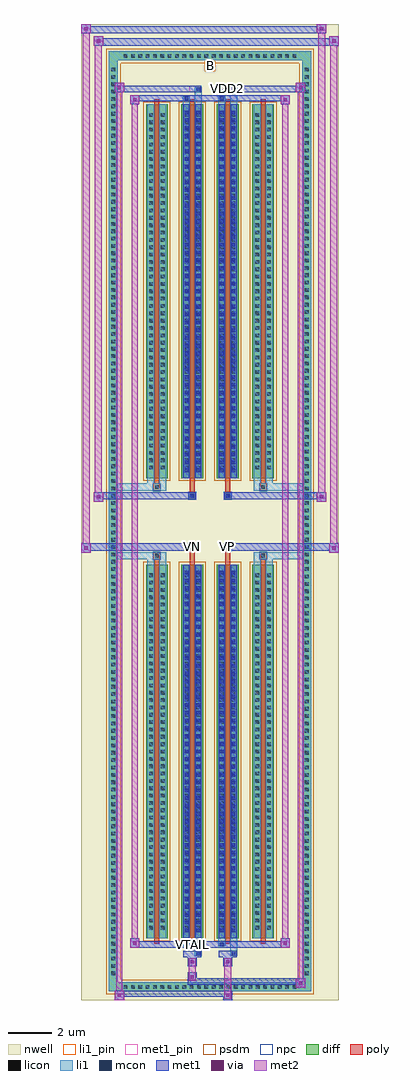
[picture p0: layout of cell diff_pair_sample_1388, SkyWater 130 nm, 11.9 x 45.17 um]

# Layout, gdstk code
import gdstk
lib = gdstk.Library(unit=1e-6, precision=5e-09)
def R(c, l, rs):  # rectangles x0, y0, x1, y1
    for r in rs: c.add(gdstk.rectangle(r[:2], r[2:], *l))
def A(c, l, x, y, w, h, nx, ny, dx, dy):  # array of equal rectangles
    R(c, l, [(x+i*dx, y+j*dy, x+i*dx+w, y+j*dy+h) for i in range(nx) for j in range(ny)])
def P(c, l, *ps):  # polygons
    for p in ps: c.add(gdstk.Polygon(p, *l))
nwell = (64, 20)
diff = (65, 20)
poly = (66, 20)
licon = (66, 44)
li1_pin = (67, 16)
li1 = (67, 20)
mcon = (67, 44)
met1_pin = (68, 16)
met1 = (68, 20)
via = (68, 44)
met2 = (69, 20)
psdm = (94, 20)
npc = (95, 20)

diff_pair_sample_1388 = lib.new_cell('diff_pair_sample_1388')
R(diff_pair_sample_1388, nwell, [(-5.95,-22.15,5.95,23.02), (-3.27,-20.34,-0.01,-0.82), (0.01,-20.34,3.27,-0.82), (-3.27,0.82,-0.01,20.34), (0.01,0.82,3.27,20.34)])
A(diff_pair_sample_1388, diff, -4.115, -21.75, 0.41, 0.41, 24, 2, 0.34, 43.09)
A(diff_pair_sample_1388, diff, -4.68, -21.115, 0.41, 0.41, 1, 124, 0, 0.34)
A(diff_pair_sample_1388, diff, 4.27, -21.115, 0.41, 0.41, 1, 124, 0, 0.34)
A(diff_pair_sample_1388, diff, -2.96, -19.295, 1, 17.29, 4, 2, 1.64, 21.3)
R(diff_pair_sample_1388, diff, [(-4.115,-21.75,4.115,-21.34), (-4.68,-21.115,-4.27,21.115), (4.27,-21.115,4.68,21.115), (-4.115,21.34,4.115,21.75)])
P(diff_pair_sample_1388, diff, [(4.68,21.75),(-4.68,21.75),(-4.68,-21.34),(-4.27,-21.34),(-4.27,21.34),(4.27,21.34),(4.27,-21.34),(-4.27,-21.34),(-4.68,-21.34),(-4.68,-21.75),(4.68,-21.75)])
A(diff_pair_sample_1388, poly, -2.57, -19.545, 0.22, 17.79, 4, 2, 1.64, 21.3)
R(diff_pair_sample_1388, poly, [(-2.625,-1.755,-2.295,-1.425), (-2.625,-1.755,-2.295,-1.425), (-0.93,-1.755,-0.71,-1.35), (0.71,-1.755,0.93,-1.35), (2.295,-1.755,2.625,-1.425), (2.295,-1.755,2.625,-1.425), (-0.985,-1.35,-0.655,-1.02), (-0.985,-1.35,-0.655,-1.02), (0.655,-1.35,0.985,-1.02), (0.655,-1.35,0.985,-1.02), (-0.985,1.02,-0.655,1.35), (-0.985,1.02,-0.655,1.35), (0.655,1.02,0.985,1.35), (0.655,1.02,0.985,1.35), (-0.93,1.35,-0.71,1.755), (0.71,1.35,0.93,1.755), (-2.625,1.425,-2.295,1.755), (-2.625,1.425,-2.295,1.755), (2.295,1.425,2.625,1.755), (2.295,1.425,2.625,1.755)])
A(diff_pair_sample_1388, licon, -3.995, -21.63, 0.17, 0.17, 24, 2, 0.34, 43.09)
A(diff_pair_sample_1388, licon, -4.56, -20.995, 0.17, 0.17, 1, 124, 0, 0.34)
A(diff_pair_sample_1388, licon, 4.39, -20.995, 0.17, 0.17, 1, 124, 0, 0.34)
A(diff_pair_sample_1388, licon, -2.82, -18.895, 0.17, 0.17, 1, 49, 0, 0.34)
A(diff_pair_sample_1388, licon, -2.27, -18.895, 0.17, 0.17, 1, 49, 0, 0.34)
A(diff_pair_sample_1388, licon, -1.18, -18.895, 0.17, 0.17, 1, 49, 0, 0.34)
A(diff_pair_sample_1388, licon, -0.63, -18.895, 0.17, 0.17, 1, 49, 0, 0.34)
A(diff_pair_sample_1388, licon, 0.46, -18.895, 0.17, 0.17, 1, 49, 0, 0.34)
A(diff_pair_sample_1388, licon, 1.01, -18.895, 0.17, 0.17, 1, 49, 0, 0.34)
A(diff_pair_sample_1388, licon, 2.1, -18.895, 0.17, 0.17, 1, 49, 0, 0.34)
A(diff_pair_sample_1388, licon, 2.65, -18.895, 0.17, 0.17, 1, 49, 0, 0.34)
A(diff_pair_sample_1388, licon, -2.82, 2.405, 0.17, 0.17, 1, 49, 0, 0.34)
A(diff_pair_sample_1388, licon, -2.27, 2.405, 0.17, 0.17, 1, 49, 0, 0.34)
A(diff_pair_sample_1388, licon, -1.18, 2.405, 0.17, 0.17, 1, 49, 0, 0.34)
A(diff_pair_sample_1388, licon, -0.63, 2.405, 0.17, 0.17, 1, 49, 0, 0.34)
A(diff_pair_sample_1388, licon, 0.46, 2.405, 0.17, 0.17, 1, 49, 0, 0.34)
A(diff_pair_sample_1388, licon, 1.01, 2.405, 0.17, 0.17, 1, 49, 0, 0.34)
A(diff_pair_sample_1388, licon, 2.1, 2.405, 0.17, 0.17, 1, 49, 0, 0.34)
A(diff_pair_sample_1388, licon, 2.65, 2.405, 0.17, 0.17, 1, 49, 0, 0.34)
R(diff_pair_sample_1388, licon, [(-2.545,-1.675,-2.375,-1.505), (2.375,-1.675,2.545,-1.505), (-0.905,-1.27,-0.735,-1.1), (0.735,-1.27,0.905,-1.1), (-0.905,1.1,-0.735,1.27), (0.735,1.1,0.905,1.27), (-2.545,1.505,-2.375,1.675), (2.375,1.505,2.545,1.675)])
R(diff_pair_sample_1388, li1_pin, [(-0.25,20.84,0.25,21.34)])
A(diff_pair_sample_1388, li1, -4.075, -21.71, 0.33, 0.33, 24, 2, 0.34, 43.09)
A(diff_pair_sample_1388, li1, -4.64, -21.075, 0.33, 0.33, 1, 124, 0, 0.34)
A(diff_pair_sample_1388, li1, 4.31, -21.075, 0.33, 0.33, 1, 124, 0, 0.34)
A(diff_pair_sample_1388, li1, -1.18, -19.015, 0.17, 0.17, 1, 47, 0, 0.36)
A(diff_pair_sample_1388, li1, -0.63, -19.015, 0.17, 0.17, 1, 47, 0, 0.36)
A(diff_pair_sample_1388, li1, 0.46, -19.015, 0.17, 0.17, 1, 47, 0, 0.36)
A(diff_pair_sample_1388, li1, 1.01, -19.015, 0.17, 0.17, 1, 47, 0, 0.36)
A(diff_pair_sample_1388, li1, -2.9, -18.975, 0.33, 0.33, 1, 49, 0, 0.34)
A(diff_pair_sample_1388, li1, -2.35, -18.975, 0.33, 0.33, 1, 49, 0, 0.34)
A(diff_pair_sample_1388, li1, -1.26, -18.975, 0.33, 0.33, 1, 49, 0, 0.34)
A(diff_pair_sample_1388, li1, -0.71, -18.975, 0.33, 0.33, 1, 49, 0, 0.34)
A(diff_pair_sample_1388, li1, 0.38, -18.975, 0.33, 0.33, 1, 49, 0, 0.34)
A(diff_pair_sample_1388, li1, 0.93, -18.975, 0.33, 0.33, 1, 49, 0, 0.34)
A(diff_pair_sample_1388, li1, 2.02, -18.975, 0.33, 0.33, 1, 49, 0, 0.34)
A(diff_pair_sample_1388, li1, 2.57, -18.975, 0.33, 0.33, 1, 49, 0, 0.34)
A(diff_pair_sample_1388, li1, -1.18, 2.285, 0.17, 0.17, 1, 47, 0, 0.36)
A(diff_pair_sample_1388, li1, -0.63, 2.285, 0.17, 0.17, 1, 47, 0, 0.36)
A(diff_pair_sample_1388, li1, 0.46, 2.285, 0.17, 0.17, 1, 47, 0, 0.36)
A(diff_pair_sample_1388, li1, 1.01, 2.285, 0.17, 0.17, 1, 47, 0, 0.36)
A(diff_pair_sample_1388, li1, -2.9, 2.325, 0.33, 0.33, 1, 49, 0, 0.34)
A(diff_pair_sample_1388, li1, -2.35, 2.325, 0.33, 0.33, 1, 49, 0, 0.34)
A(diff_pair_sample_1388, li1, -1.26, 2.325, 0.33, 0.33, 1, 49, 0, 0.34)
A(diff_pair_sample_1388, li1, -0.71, 2.325, 0.33, 0.33, 1, 49, 0, 0.34)
A(diff_pair_sample_1388, li1, 0.38, 2.325, 0.33, 0.33, 1, 49, 0, 0.34)
A(diff_pair_sample_1388, li1, 0.93, 2.325, 0.33, 0.33, 1, 49, 0, 0.34)
A(diff_pair_sample_1388, li1, 2.02, 2.325, 0.33, 0.33, 1, 49, 0, 0.34)
A(diff_pair_sample_1388, li1, 2.57, 2.325, 0.33, 0.33, 1, 49, 0, 0.34)
R(diff_pair_sample_1388, li1, [(-4.68,-21.75,-4.27,-21.34), (-4.68,-21.75,-4.27,-21.34), (-4.27,-21.75,4.27,-21.34), (4.27,-21.75,4.68,-21.34), (4.27,-21.75,4.68,-21.34), (-4.68,-21.34,-4.27,21.34), (4.27,-21.34,4.68,21.34), (-0.71,-20.1,-0.38,-19.295), (-0.63,-20.1,-0.46,-19.93), (0.93,-20.1,1.26,-19.295), (1.01,-20.1,1.18,-19.93), (-1.26,-19.67,-0.93,-19.295), (-1.18,-19.67,-1.01,-19.5), (0.38,-19.67,0.71,-19.295), (0.46,-19.67,0.63,-19.5), (-2.9,-19.295,-2.57,-2.005), (-2.35,-19.295,-2.02,-2.005), (-1.26,-19.295,-0.93,-2.005), (-0.71,-19.295,-0.38,-2.005), (0.38,-19.295,0.71,-2.005), (0.93,-19.295,1.26,-2.005), (2.02,-19.295,2.35,-2.005), (2.57,-19.295,2.9,-2.005), (-1.18,-19.015,-1.01,-2.285), (-0.63,-19.015,-0.46,-2.285), (0.46,-19.015,0.63,-2.285), (1.01,-19.015,1.18,-2.285), (-2.9,-2.005,-2.57,-1.425), (-2.35,-2.005,-2.02,-1.425), (2.02,-2.005,2.35,-1.425), (2.57,-2.005,2.9,-1.425), (-4.68,-1.755,-2.625,-1.425), (-2.9,-1.755,-2.625,-1.425), (-2.625,-1.755,-2.295,-1.425), (-2.295,-1.755,-2.02,-1.425), (2.02,-1.755,2.295,-1.425), (2.295,-1.755,2.625,-1.425), (2.295,-1.755,4.68,-1.425), (2.625,-1.755,2.9,-1.425), (-0.985,-1.35,-0.655,-1.02), (0.655,-1.35,0.985,-1.02), (-0.985,1.02,-0.655,1.35), (0.655,1.02,0.985,1.35), (-4.68,1.425,-2.625,1.755), (-2.9,1.425,-2.625,1.755), (-2.9,1.425,-2.57,2.005), (-2.625,1.425,-2.295,1.755), (-2.35,1.425,-2.02,2.005), (-2.295,1.425,-2.02,1.755), (2.02,1.425,2.295,1.755), (2.02,1.425,2.35,2.005), (2.295,1.425,2.625,1.755), (2.295,1.425,4.68,1.755), (2.57,1.425,2.9,2.005), (2.625,1.425,2.9,1.755), (-2.9,2.005,-2.57,19.295), (-2.35,2.005,-2.02,19.295), (-1.26,2.005,-0.93,19.295), (-0.71,2.005,-0.38,19.295), (0.38,2.005,0.71,19.295), (0.93,2.005,1.26,19.295), (2.02,2.005,2.35,19.295), (2.57,2.005,2.9,19.295), (-1.18,2.285,-1.01,19.015), (-0.63,2.285,-0.46,19.015), (0.46,2.285,0.63,19.015), (1.01,2.285,1.18,19.015), (-1.26,19.295,-0.93,19.67), (-0.71,19.295,-0.38,20.1), (0.38,19.295,0.71,19.67), (0.93,19.295,1.26,20.1), (-1.18,19.5,-1.01,19.67), (0.46,19.5,0.63,19.67), (-0.63,19.93,-0.46,20.1), (1.01,19.93,1.18,20.1), (-4.68,21.34,-4.27,21.75), (-4.68,21.34,-4.27,21.75), (-4.27,21.34,4.27,21.75), (4.27,21.34,4.68,21.75), (4.27,21.34,4.68,21.75)])
A(diff_pair_sample_1388, mcon, -1.18, -19.015, 0.17, 0.17, 1, 47, 0, 0.36)
A(diff_pair_sample_1388, mcon, -0.63, -19.015, 0.17, 0.17, 1, 47, 0, 0.36)
A(diff_pair_sample_1388, mcon, 0.46, -19.015, 0.17, 0.17, 1, 47, 0, 0.36)
A(diff_pair_sample_1388, mcon, 1.01, -19.015, 0.17, 0.17, 1, 47, 0, 0.36)
A(diff_pair_sample_1388, mcon, -1.18, 2.285, 0.17, 0.17, 1, 47, 0, 0.36)
A(diff_pair_sample_1388, mcon, -0.63, 2.285, 0.17, 0.17, 1, 47, 0, 0.36)
A(diff_pair_sample_1388, mcon, 0.46, 2.285, 0.17, 0.17, 1, 47, 0, 0.36)
A(diff_pair_sample_1388, mcon, 1.01, 2.285, 0.17, 0.17, 1, 47, 0, 0.36)
R(diff_pair_sample_1388, mcon, [(-0.63,-20.1,-0.46,-19.93), (1.01,-20.1,1.18,-19.93), (-1.18,-19.67,-1.01,-19.5), (0.46,-19.67,0.63,-19.5), (-0.905,-1.27,-0.735,-1.1), (0.735,-1.27,0.905,-1.1), (-0.905,1.1,-0.735,1.27), (0.735,1.1,0.905,1.27), (-1.18,19.5,-1.01,19.67), (0.46,19.5,0.63,19.67), (-0.63,19.93,-0.46,20.1), (1.01,19.93,1.18,20.1)])
R(diff_pair_sample_1388, met1_pin, [(-0.955,-19.71,-0.685,-19.44), (-0.955,-1.29,-0.685,-1.02), (0.685,-1.29,0.955,-1.02), (-0.955,19.89,-0.685,20.16), (0.685,19.89,0.955,20.16)])
A(diff_pair_sample_1388, met1, -1.24, -19.075, 0.29, 0.29, 1, 47, 0, 0.36)
A(diff_pair_sample_1388, met1, -0.69, -19.075, 0.29, 0.29, 1, 47, 0, 0.36)
A(diff_pair_sample_1388, met1, 0.4, -19.075, 0.29, 0.29, 1, 47, 0, 0.36)
A(diff_pair_sample_1388, met1, 0.95, -19.075, 0.29, 0.29, 1, 47, 0, 0.36)
A(diff_pair_sample_1388, met1, -1.24, 2.225, 0.29, 0.29, 1, 47, 0, 0.36)
A(diff_pair_sample_1388, met1, -0.69, 2.225, 0.29, 0.29, 1, 47, 0, 0.36)
A(diff_pair_sample_1388, met1, 0.4, 2.225, 0.29, 0.29, 1, 47, 0, 0.36)
A(diff_pair_sample_1388, met1, 0.95, 2.225, 0.29, 0.29, 1, 47, 0, 0.36)
R(diff_pair_sample_1388, met1, [(-4.41,-22.15,-3.98,-21.72), (0.605,-22.15,1.035,-21.72), (-4.41,-22.01,1.035,-21.72), (3.98,-21.58,4.41,-21.15), (-1.035,-21.44,4.41,-21.15), (-1.035,-21.3,-0.605,-20.87), (-1.035,-20.59,-0.605,-20.16), (0.605,-20.59,1.035,-20.16), (-1.24,-20.16,-0.4,-19.87), (-0.69,-20.16,-0.4,-19.87), (0.4,-20.16,1.24,-19.87), (0.95,-20.16,1.24,-19.87), (-3.7,-19.73,-3.27,-19.3), (-3.7,-19.73,-1.24,-19.44), (-1.24,-19.73,-0.95,-19.44), (-1.24,-19.73,-0.4,-19.44), (-0.4,-19.73,0.4,-19.44), (0.4,-19.73,0.69,-19.44), (0.4,-19.73,1.24,-19.44), (1.24,-19.73,3.7,-19.44), (3.27,-19.73,3.7,-19.3), (-1.24,-19.295,-0.95,-2.005), (-0.69,-19.295,-0.4,-2.005), (0.4,-19.295,0.69,-2.005), (0.95,-19.295,1.24,-2.005), (-5.95,-1.45,-5.52,-1.02), (5.52,-1.45,5.95,-1.02), (-5.95,-1.35,-0.655,-1.02), (-0.985,-1.35,-0.655,-1.02), (0.655,-1.35,0.985,-1.02), (0.655,-1.35,5.95,-1.02), (-0.965,-1.33,-0.675,-1.04), (0.675,-1.33,0.965,-1.04), (-5.38,0.92,-4.95,1.35), (4.95,0.92,5.38,1.35), (-5.38,1.02,-0.985,1.35), (-0.985,1.02,-0.655,1.35), (0.655,1.02,0.985,1.35), (0.985,1.02,5.38,1.35), (-0.965,1.04,-0.675,1.33), (0.675,1.04,0.965,1.33), (-1.24,2.005,-0.95,19.295), (-0.69,2.005,-0.4,19.295), (0.4,2.005,0.69,19.295), (0.95,2.005,1.24,19.295), (-3.7,19.3,-3.27,19.73), (3.27,19.3,3.7,19.73), (-3.7,19.44,-1.24,19.73), (-1.24,19.44,-0.95,19.73), (-1.24,19.44,-0.4,19.73), (-0.4,19.44,0.4,19.73), (0.4,19.44,0.69,19.73), (0.4,19.44,1.24,19.73), (1.24,19.44,3.7,19.73), (-4.41,19.87,-3.98,20.3), (-4.41,19.87,-1.24,20.16), (-1.24,19.87,-0.4,20.16), (-0.69,19.87,-0.4,20.16), (0.4,19.87,1.24,20.16), (0.95,19.87,1.24,20.16), (1.24,19.87,4.41,20.16), (3.98,19.87,4.41,20.3), (-5.38,22.02,-4.95,22.45), (-5.38,22.02,-3.27,22.35), (-3.27,22.02,3.27,22.35), (3.27,22.02,5.95,22.35), (5.52,22.02,5.95,22.45), (-5.95,22.59,-5.52,23.02), (-5.95,22.59,-3.27,22.92), (-3.27,22.59,3.27,22.92), (3.27,22.59,5.38,22.92), (4.95,22.59,5.38,23.02)])
R(diff_pair_sample_1388, via, [(-4.27,-22.01,-4.12,-21.86), (0.745,-22.01,0.895,-21.86), (4.12,-21.44,4.27,-21.29), (-0.895,-21.16,-0.745,-21.01), (-0.895,-20.45,-0.745,-20.3), (0.745,-20.45,0.895,-20.3), (-3.56,-19.59,-3.41,-19.44), (3.41,-19.59,3.56,-19.44), (-5.81,-1.31,-5.66,-1.16), (5.66,-1.31,5.81,-1.16), (-5.24,1.06,-5.09,1.21), (5.09,1.06,5.24,1.21), (-3.56,19.44,-3.41,19.59), (3.41,19.44,3.56,19.59), (-4.27,20.01,-4.12,20.16), (4.12,20.01,4.27,20.16), (-5.24,22.16,-5.09,22.31), (5.66,22.16,5.81,22.31), (-5.81,22.73,-5.66,22.88), (5.09,22.73,5.24,22.88)])
R(diff_pair_sample_1388, met2, [(-4.41,-22.15,-3.98,-21.72), (-4.34,-22.15,-4.05,20.3), (-4.05,-22.15,-3.98,-21.72), (-4.36,-22.1,-4.03,-21.77), (0.655,-22.1,0.985,-21.77), (0.655,-21.77,0.985,-20.54), (3.98,-21.58,4.41,-21.15), (4.05,-21.58,4.34,20.3), (4.34,-21.58,4.41,-21.15), (4.03,-21.53,4.36,-21.2), (-0.985,-21.25,-0.655,-20.92), (-0.985,-20.92,-0.655,-20.54), (-0.985,-20.54,-0.655,-20.21), (0.655,-20.54,0.985,-20.21), (-3.7,-19.73,-3.27,-19.3), (-3.63,-19.73,-3.34,19.73), (-3.34,-19.73,-3.27,-19.3), (3.27,-19.73,3.7,-19.3), (3.34,-19.73,3.63,19.73), (3.63,-19.73,3.7,-19.3), (-3.65,-19.68,-3.32,-19.35), (3.32,-19.68,3.65,-19.35), (-5.95,-1.45,-5.52,-1.02), (-5.9,-1.45,-5.57,23.02), (-5.57,-1.45,-5.52,-1.02), (5.52,-1.45,5.95,-1.02), (5.57,-1.45,5.9,22.45), (5.9,-1.45,5.95,-1.02), (-5.9,-1.4,-5.57,-1.07), (5.57,-1.4,5.9,-1.07), (-5.38,0.92,-4.95,1.35), (-5.33,0.92,-5,22.45), (-5,0.92,-4.95,1.35), (4.95,0.92,5.38,1.35), (5,0.92,5.33,23.02), (5.33,0.92,5.38,1.35), (-5.33,0.97,-5,1.3), (5,0.97,5.33,1.3), (-3.7,19.3,-3.27,19.73), (-3.34,19.3,-3.27,19.73), (3.27,19.3,3.7,19.73), (3.63,19.3,3.7,19.73), (-3.65,19.35,-3.32,19.68), (3.32,19.35,3.65,19.68), (-4.41,19.87,-3.98,20.3), (-4.05,19.87,-3.98,20.3), (3.98,19.87,4.41,20.3), (4.34,19.87,4.41,20.3), (-4.36,19.92,-4.03,20.25), (4.03,19.92,4.36,20.25), (-5.38,22.02,-4.95,22.45), (-5,22.02,-4.95,22.45), (5.52,22.02,5.95,22.45), (5.9,22.02,5.95,22.45), (-5.33,22.07,-5,22.4), (5.57,22.07,5.9,22.4), (-5.95,22.59,-5.52,23.02), (-5.57,22.59,-5.52,23.02), (4.95,22.59,5.38,23.02), (5.33,22.59,5.38,23.02), (-5.9,22.64,-5.57,22.97), (5,22.64,5.33,22.97)])
A(diff_pair_sample_1388, psdm, -3.09, -19.425, 1.26, 17.55, 4, 2, 1.64, 21.3)
P(diff_pair_sample_1388, psdm, [(4.81,21.88),(-4.81,21.88),(-4.81,-21.21),(-4.14,-21.21),(-4.14,21.21),(4.14,21.21),(4.14,-21.21),(-4.14,-21.21),(-4.81,-21.21),(-4.81,-21.88),(4.81,-21.88)])
R(diff_pair_sample_1388, npc, [(-2.645,-1.775,-2.275,-1.405), (2.275,-1.775,2.645,-1.405), (-1.005,-1.37,-0.635,-1), (0.635,-1.37,1.005,-1), (-1.005,1,-0.635,1.37), (0.635,1,1.005,1.37), (-2.645,1.405,-2.275,1.775), (2.275,1.405,2.645,1.775)])
diff_pair_sample_1388.add(gdstk.Label('VTAIL', (-0.82,-19.575), layer=68, texttype=5))
diff_pair_sample_1388.add(gdstk.Label('VN', (-0.82,-1.155), layer=68, texttype=5))
diff_pair_sample_1388.add(gdstk.Label('VP', (0.82,-1.155), layer=68, texttype=5))
diff_pair_sample_1388.add(gdstk.Label('B', (0,21.09), layer=67, texttype=5))
diff_pair_sample_1388.add(gdstk.Label('VDD2', (0.82,20.025), layer=68, texttype=5))
diff_pair_sample_1388.add(gdstk.Label('VDD1', (-0.82,20.025), layer=68, texttype=5))

lib.write_gds('diff_pair_sample_1388.gds')
